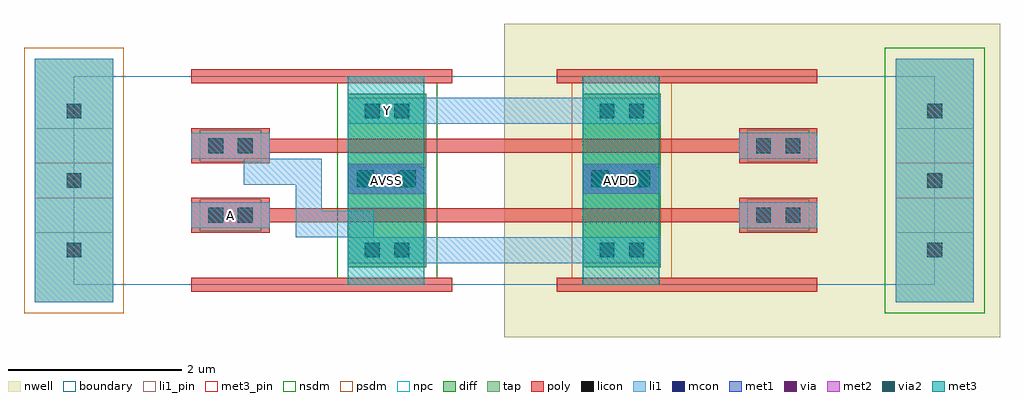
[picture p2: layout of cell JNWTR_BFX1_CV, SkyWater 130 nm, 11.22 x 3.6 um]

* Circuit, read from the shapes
.subckt JNWTR_BFX1_CV A AVDD AVSS Y
XM1 AVSS A JNWTR_NCHDL_1/G JNWTR_NCHDL_0/B sky130_fd_pr__nfet_01v8 w=0.9 l=0.16
XM2 Y JNWTR_NCHDL_1/G AVSS JNWTR_NCHDL_0/B sky130_fd_pr__nfet_01v8 w=0.9 l=0.16
XM3 AVDD A JNWTR_NCHDL_1/G JNWTR_PCHDL_2/B sky130_fd_pr__pfet_01v8 w=0.9 l=0.16
XM4 Y JNWTR_NCHDL_1/G AVDD JNWTR_PCHDL_2/B sky130_fd_pr__pfet_01v8 w=0.9 l=0.16
.ends

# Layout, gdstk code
import gdstk
lib = gdstk.Library(unit=1e-6, precision=1e-09)
def R(c, l, rs):  # rectangles x0, y0, x1, y1
    for r in rs: c.add(gdstk.rectangle(r[:2], r[2:], *l))
def A(c, l, x, y, w, h, nx, ny, dx, dy):  # array of equal rectangles
    R(c, l, [(x+i*dx, y+j*dy, x+i*dx+w, y+j*dy+h) for i in range(nx) for j in range(ny)])
nwell = (64, 20)
diff = (65, 20)
tap = (65, 44)
poly = (66, 20)
licon = (66, 44)
li1_pin = (67, 16)
li1 = (67, 20)
mcon = (67, 44)
met1 = (68, 20)
via = (68, 44)
met2 = (69, 20)
via2 = (69, 44)
met3_pin = (70, 16)
met3 = (70, 20)
nsdm = (93, 44)
psdm = (94, 20)
npc = (95, 20)
boundary = (235, 4)

jnwtr_nchdl = lib.new_cell('JNWTR_NCHDL')
R(jnwtr_nchdl, diff, [(3.15,0.2,4.05,1.4)])
R(jnwtr_nchdl, tap, [(-0.45,-0.2,0.45,1.8)])
A(jnwtr_nchdl, poly, 1.35, -0.08, 3, 0.16, 1, 3, 0, 0.8)
R(jnwtr_nchdl, poly, [(1.35,0.6,2.25,0.72), (1.35,0.88,2.25,1)])
R(jnwtr_nchdl, licon, [(-0.085,0.315,0.085,0.485), (3.345,0.315,3.515,0.485), (3.685,0.315,3.855,0.485), (1.545,0.715,1.715,0.885), (1.885,0.715,2.055,0.885), (-0.085,1.115,0.085,1.285), (3.345,1.115,3.515,1.285), (3.685,1.115,3.855,1.285)])
R(jnwtr_nchdl, li1_pin, [(3.15,0.25,4.05,0.55), (-0.45,0.6,0.45,1), (1.35,0.65,2.25,0.95), (3.15,1.05,4.05,1.35)])
R(jnwtr_nchdl, li1, [(-0.45,-0.2,0.45,1.8), (3.15,0.25,4.05,0.55), (1.35,0.65,2.25,0.95), (3.15,1.05,4.05,1.35)])
R(jnwtr_nchdl, nsdm, [(3.025,0.075,4.175,1.525)])
R(jnwtr_nchdl, psdm, [(-0.575,-0.325,0.575,1.925)])
R(jnwtr_nchdl, npc, [(1.445,0.615,2.155,0.985)])
R(jnwtr_nchdl, boundary, [(0,0,4.95,1.6)])
jnwtr_nchdl.add(gdstk.Label('D', (3.6,1.2), layer=67, texttype=5))
jnwtr_nchdl.add(gdstk.Label('G', (1.8,0.8), layer=67, texttype=5))
jnwtr_nchdl.add(gdstk.Label('S', (3.6,0.4), layer=67, texttype=5))
jnwtr_nchdl.add(gdstk.Label('B', (0,0.8), layer=67, texttype=5))

jnwtr_pchdl = lib.new_cell('JNWTR_PCHDL')
R(jnwtr_pchdl, nwell, [(0,-0.6,5.7,2.2)])
R(jnwtr_pchdl, diff, [(0.9,0.2,1.8,1.4)])
R(jnwtr_pchdl, tap, [(4.5,-0.2,5.4,1.8)])
A(jnwtr_pchdl, poly, 0.6, -0.08, 3, 0.16, 1, 3, 0, 0.8)
R(jnwtr_pchdl, poly, [(2.7,0.6,3.6,0.72), (2.7,0.88,3.6,1)])
R(jnwtr_pchdl, licon, [(1.095,0.315,1.265,0.485), (1.435,0.315,1.605,0.485), (4.865,0.315,5.035,0.485), (2.895,0.715,3.065,0.885), (3.235,0.715,3.405,0.885), (1.095,1.115,1.265,1.285), (1.435,1.115,1.605,1.285), (4.865,1.115,5.035,1.285)])
R(jnwtr_pchdl, li1_pin, [(0.9,0.25,1.8,0.55), (4.5,0.6,5.4,1), (2.7,0.65,3.6,0.95), (0.9,1.05,1.8,1.35)])
R(jnwtr_pchdl, li1, [(4.5,-0.2,5.4,1.8), (0.9,0.25,1.8,0.55), (2.7,0.65,3.6,0.95), (0.9,1.05,1.8,1.35)])
R(jnwtr_pchdl, nsdm, [(4.375,-0.325,5.525,1.925)])
R(jnwtr_pchdl, psdm, [(0.775,0.075,1.925,1.525)])
R(jnwtr_pchdl, npc, [(2.795,0.615,3.505,0.985)])
R(jnwtr_pchdl, boundary, [(0,0,4.95,1.6)])
jnwtr_pchdl.add(gdstk.Label('D', (1.35,1.2), layer=67, texttype=5))
jnwtr_pchdl.add(gdstk.Label('G', (3.15,0.8), layer=67, texttype=5))
jnwtr_pchdl.add(gdstk.Label('S', (1.35,0.4), layer=67, texttype=5))
jnwtr_pchdl.add(gdstk.Label('B', (4.95,0.8), layer=67, texttype=5))

jnwtr_cut_m1m4_2x1 = lib.new_cell('JNWTR_cut_M1M4_2x1')
R(jnwtr_cut_m1m4_2x1, li1, [(0,0,0.84,0.32)])
R(jnwtr_cut_m1m4_2x1, mcon, [(0.105,0.075,0.275,0.245), (0.565,0.075,0.735,0.245)])
R(jnwtr_cut_m1m4_2x1, met1, [(0,0,0.88,0.34)])
R(jnwtr_cut_m1m4_2x1, via, [(0.125,0.095,0.275,0.245), (0.605,0.095,0.755,0.245)])
R(jnwtr_cut_m1m4_2x1, met2, [(0,0,0.88,0.34)])
R(jnwtr_cut_m1m4_2x1, via2, [(0.1,0.07,0.3,0.27), (0.58,0.07,0.78,0.27)])
R(jnwtr_cut_m1m4_2x1, met3, [(0,0,0.88,0.34)])
R(jnwtr_cut_m1m4_2x1, boundary, [(0,0,0.88,0.34)])

jnwtr_bfx1_cv = lib.new_cell('JNWTR_BFX1_CV')
R(jnwtr_bfx1_cv, poly, [(1.35,0.72,8.55,0.88), (1.35,1.52,8.55,1.68)])
R(jnwtr_bfx1_cv, li1_pin, [(1.35,0.65,2.25,0.95), (3.15,1.85,4.05,2.15)])
R(jnwtr_bfx1_cv, li1, [(3.15,0.25,6.3,0.55), (2.55,0.55,3.45,0.85), (1.35,0.65,2.25,0.95), (2.55,0.85,2.85,1.15), (1.95,1.15,2.85,1.45), (1.8,1.45,2.25,1.75), (3.15,1.85,6.3,2.15)])
R(jnwtr_bfx1_cv, met3_pin, [(3.15,0,4.03,2.4), (5.85,0,6.73,2.4)])
R(jnwtr_bfx1_cv, met3, [(3.15,0,4.03,2.4), (5.85,0,6.73,2.4)])
R(jnwtr_bfx1_cv, boundary, [(0,0,9.9,2.4)])
jnwtr_bfx1_cv.add(gdstk.Reference(jnwtr_nchdl, (0,0)))
jnwtr_bfx1_cv.add(gdstk.Reference(jnwtr_nchdl, (0,0.8)))
jnwtr_bfx1_cv.add(gdstk.Reference(jnwtr_pchdl, (4.95,0)))
jnwtr_bfx1_cv.add(gdstk.Reference(jnwtr_pchdl, (4.95,0.8)))
jnwtr_bfx1_cv.add(gdstk.Reference(jnwtr_cut_m1m4_2x1, (5.85,1.05)))
jnwtr_bfx1_cv.add(gdstk.Reference(jnwtr_cut_m1m4_2x1, (5.85,1.05)))
jnwtr_bfx1_cv.add(gdstk.Reference(jnwtr_cut_m1m4_2x1, (3.15,1.05)))
jnwtr_bfx1_cv.add(gdstk.Reference(jnwtr_cut_m1m4_2x1, (3.15,1.05)))
jnwtr_bfx1_cv.add(gdstk.Label('A', (1.8,0.8), layer=67, texttype=5))
jnwtr_bfx1_cv.add(gdstk.Label('Y', (3.6,2), layer=67, texttype=5))
jnwtr_bfx1_cv.add(gdstk.Label('AVDD', (6.29,1.2), layer=70, texttype=5))
jnwtr_bfx1_cv.add(gdstk.Label('AVSS', (3.59,1.2), layer=70, texttype=5))

lib.write_gds('JNWTR_BFX1_CV.gds')
